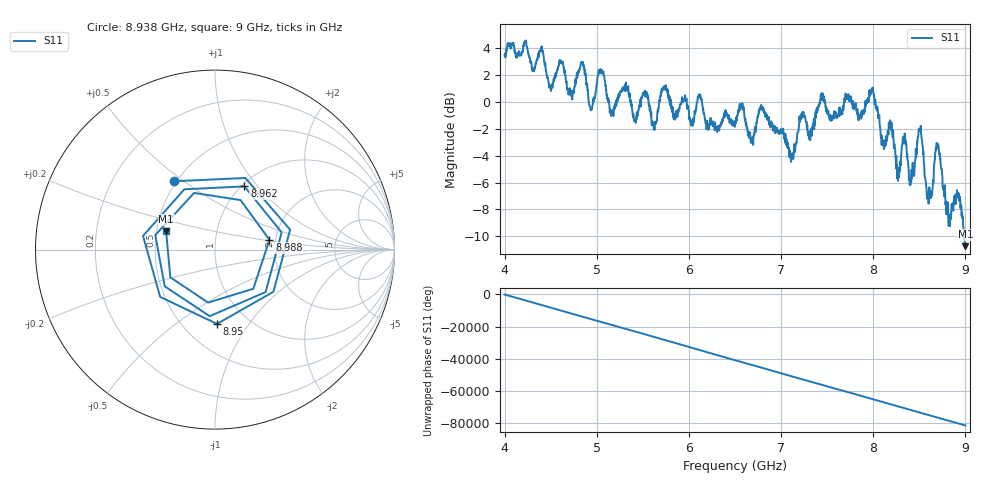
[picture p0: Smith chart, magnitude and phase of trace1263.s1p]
! Created with skrf 1.8.0 (http://scikit-rf.org).
# Hz S RI R 50.0
!freq ReS11 ImS11
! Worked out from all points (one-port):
!   1601 points, 4 GHz to 9 GHz, reference 50 ohm
!   lowest |S11| = -10.7 dB at 9 GHz (marker M1), VSWR 1.82, Z = 28.1 + j6.21 ohm
!   |S11| at or under -10 dB: 8.98332 GHz to end of sweep
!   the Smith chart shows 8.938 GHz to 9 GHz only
!   S11 on the Smith chart (normalised r, x): 8.938 GHz: 0.48, +0.46; 8.95 GHz: 0.72, -0.72; 8.962 GHz: 1.03, +0.86; 8.988 GHz: 1.85, +0.22; 9 GHz: 0.56, +0.12
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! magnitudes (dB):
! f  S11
! 4 GHz  3.4
! 4.5 GHz  1.0
! 4.625 GHz  2.8
! 4.716 GHz  0.5
! 4.847 GHz  2.8
! 4.934 GHz  -0.6
! 5.044 GHz  2.4
! 5.159 GHz  -0.9
! 5.25 GHz  0.7
! 5.875 GHz  -1.1
! 6.5 GHz  -1.5
! 6.678 GHz  -3.0
! 6.791 GHz  -0.6
! 7.125 GHz  -3.9
! 7.225 GHz  -1.1
! 7.75 GHz  0.4
! 7.984 GHz  0.9
! 8.109 GHz  -3.1
! 8.375 GHz  -4.4
! 8.506 GHz  -2.1
! 8.6 GHz  -7.6
! 8.697 GHz  -3.2
! 8.816 GHz  -9.0
! 8.938 GHz  -7.0
! 8.95 GHz  -7.7
! 8.962 GHz  -8.2
! 8.988 GHz  -10.2
! 9 GHz  -10.7
